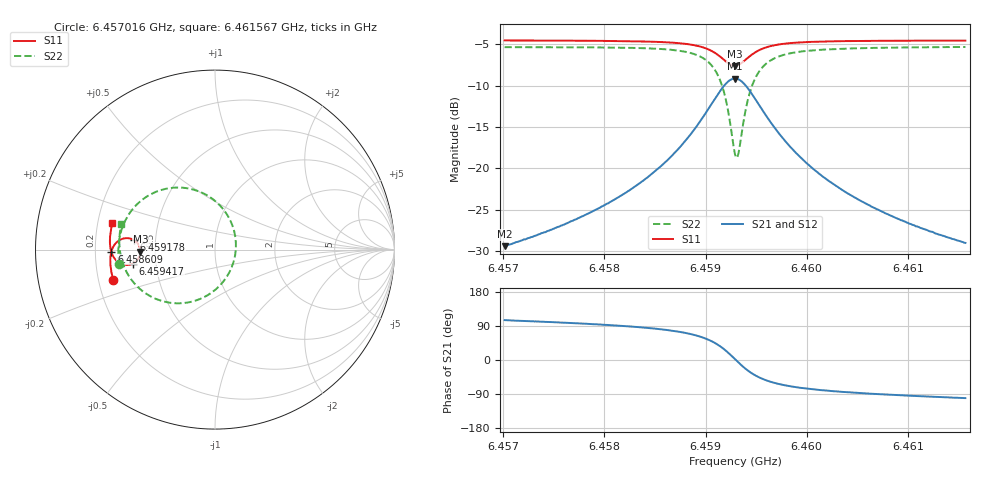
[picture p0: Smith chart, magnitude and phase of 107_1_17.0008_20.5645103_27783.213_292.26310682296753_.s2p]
#  HZ  S  RI  R  50.00
! Rohde & Schwarz Vector Network Analyzer
! Rohde-Schwarz,ZNB20-2Port,1311601062101988,3.16
! Created: UTC 3/20/2024, 10:56:52 PM
! freq[Hz]  re:S11  im:S11  re:S21  im:S21  re:S12  im:S12  re:S22  im:S22
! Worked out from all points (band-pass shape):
!   401 points, 6.457016 GHz to 6.461567 GHz, reference 50 ohm
!   highest |S21| = -9.15 dB at 6.459291 GHz (marker M1); lowest = -29.4 dB at 6.457016 GHz (marker M2)
!   |S21| within 3 dB of the highest: 6.459064 GHz to 6.459519 GHz (454.9 kHz wide, 0.00704 % of centre)
!   lowest |S11| = -7.6 dB at 6.459291 GHz (marker M3), VSWR 2.42, Z = 20.6 - j0.538 ohm
!   |S11| at or under -10 dB: nowhere
!   |S22| runs from -18.7 to -5.3 dB; largest |S21 - S12| = 0.014
!   S11 on the Smith chart (normalised r, x): 6.457016 GHz: 0.26, -0.14; 6.458609 GHz: 0.27, -0.01; 6.459178 GHz: 0.38, +0.05; 6.459417 GHz: 0.37, -0.07; 6.461567 GHz: 0.26, +0.12
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6.4570157e9  -0.5669 -0.1706  -0.00895 0.0327  -0.00706 0.0327  -0.5335 -0.0807
6.457778e9  -0.5807 -0.1037  -0.00539 0.051  -0.00299 0.0503  -0.5382 0.00889
6.458199e9  -0.5834 -0.0613  0.000575 0.0705  0.00377 0.0692  -0.5297 0.0761
6.4585404e9  -0.5795 -0.0202  0.0147 0.0996  0.0186 0.097  -0.5037 0.1539
6.4586087e9  -0.5772 -0.0106  0.0199 0.108  0.0241 0.1049  -0.4936 0.1739
6.4588021e9  -0.5645 0.0198  0.0469 0.1392  0.0509 0.1343  -0.4432 0.2433
6.45895e9  -0.5416 0.0462  0.0926 0.17  0.0958 0.1633  -0.3589 0.3077
6.4590866e9  -0.4971 0.0638  0.1806 0.1866  0.1816 0.1792  -0.1983 0.3457
6.4591776e9  -0.452 0.0532  0.2714 0.1548  0.2716 0.149  -0.0308 0.2942
6.4592459e9  -0.4226 0.0206  0.3323 0.0822  0.3345 0.0768  0.0849 0.163
6.4592914e9  -0.4156 -0.0108  0.3486 0.0136  0.3524 0.0064  0.1165 0.0349
6.4593027e9  -0.4161 -0.019  0.3484 -0.00445  0.3522 -0.0121  0.1161 0.00118
6.4593255e9  -0.4196 -0.0347  0.3428 -0.0394  0.3466 -0.0486  0.1044 -0.0653
6.459371e9  -0.4355 -0.0612  0.3137 -0.0999  0.3159 -0.1119  0.0457 -0.1788
6.4594165e9  -0.4577 -0.0778  0.2711 -0.1412  0.2702 -0.1545  -0.0403 -0.2537
6.4595076e9  -0.5016 -0.0849  0.1855 -0.1722  0.1793 -0.1838  -0.2105 -0.2992
6.4596555e9  -0.546 -0.0645  0.0969 -0.1581  0.0883 -0.1643  -0.3788 -0.2489
6.4598148e9  -0.5678 -0.0367  0.0518 -0.1299  0.0441 -0.1327  -0.4593 -0.1761
6.4600537e9  -0.5807 -0.00118  0.0223 -0.098  0.0166 -0.0986  -0.5074 -0.0935
6.4603837e9  -0.5855 0.0383  0.00676 -0.0716  0.00257 -0.0711  -0.5282 -0.0162
6.4608161e9  -0.5837 0.0821  -0.00145 -0.0523  -0.00424 -0.0514  -0.5328 0.0538
6.461567e9  -0.5719 0.1489  -0.0065 -0.0349  -0.0083 -0.0339  -0.5216 0.143
